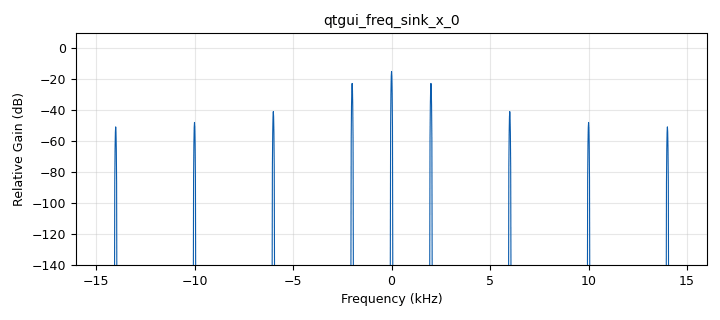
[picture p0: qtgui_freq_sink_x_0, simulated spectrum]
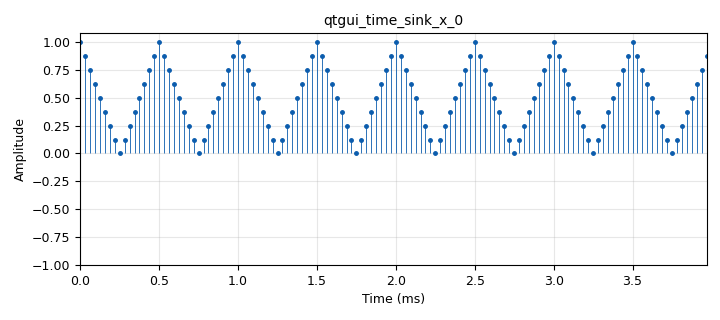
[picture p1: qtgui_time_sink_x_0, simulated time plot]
options:
  parameters:
    author: rafael_ferreira_camilo_barreto_C1A_G6
    generate_options: qt_gui
    id: LAB1_PARTE2_COMU1_G6
    output_language: python
    title: LAB1_punto2
  states: {}

blocks:
- name: freq
  id: variable_qtgui_range
  parameters:
    label: frequency
    start: '1000'
    step: '1000'
    stop: '40000'
    value: '2000'
  states: {}
- name: samp_rate
  id: variable
  parameters:
    value: '32000'
  states: {}
- name: analog_sig_source_x_0
  id: analog_sig_source_x
  parameters:
    amp: '1'
    freq: freq
    offset: '0'
    phase: '0'
    samp_rate: samp_rate
    type: float
    waveform: analog.GR_TRI_WAVE
  states: {}
- name: blocks_throttle_0
  id: blocks_throttle
  parameters:
    samples_per_second: samp_rate
    type: float
  states: {}
- name: qtgui_freq_sink_x_0
  id: qtgui_freq_sink_x
  parameters:
    bw: samp_rate
    fc: '0'
    fftsize: '2048'
    type: float
  states: {}
- name: qtgui_time_sink_x_0
  id: qtgui_time_sink_x
  parameters:
    size: '128'
    srate: samp_rate
    stemplot: 'True'
    type: float
  states: {}

connections:
- [analog_sig_source_x_0, '0', blocks_throttle_0, '0']
- [blocks_throttle_0, '0', qtgui_freq_sink_x_0, '0']
- [blocks_throttle_0, '0', qtgui_time_sink_x_0, '0']

metadata:
  file_format: 1
  grc_version: 3.9.8.0
